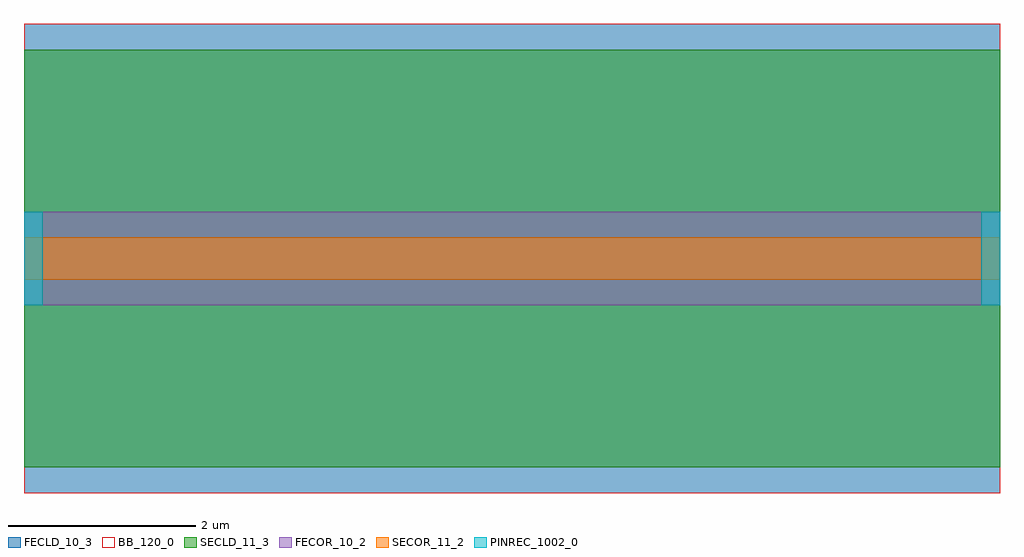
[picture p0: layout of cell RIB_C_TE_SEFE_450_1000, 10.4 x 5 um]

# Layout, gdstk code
import gdstk
lib = gdstk.Library(unit=1e-6, precision=1e-09)
def R(c, l, rs):  # rectangles x0, y0, x1, y1
    for r in rs: c.add(gdstk.rectangle(r[:2], r[2:], *l))
FECOR_10_2 = (10, 2)
FECLD_10_3 = (10, 3)
SECOR_11_2 = (11, 2)
SECLD_11_3 = (11, 3)
BB_120_0 = (120, 0)
PINREC_1002_0 = (1002, 0)

rib_c_te_sefe_450_1000 = lib.new_cell('RIB_C_TE_SEFE_450_1000')
R(rib_c_te_sefe_450_1000, FECOR_10_2, [(-0.2,-0.5,0,0.5), (0,-0.5,10,0.5), (10,-0.5,10.2,0.5)])
R(rib_c_te_sefe_450_1000, FECLD_10_3, [(-0.2,-2.5,0,2.5), (0,-2.5,10,2.5), (10,-2.5,10.2,2.5)])
R(rib_c_te_sefe_450_1000, SECOR_11_2, [(-0.2,-0.225,0,0.225), (0,-0.225,10,0.225), (10,-0.225,10.2,0.225)])
R(rib_c_te_sefe_450_1000, SECLD_11_3, [(-0.2,-2.225,0,2.225), (0,-2.225,10,2.225), (10,-2.225,10.2,2.225)])
R(rib_c_te_sefe_450_1000, BB_120_0, [(-0.2,-2.5,10.2,2.5)])
R(rib_c_te_sefe_450_1000, PINREC_1002_0, [(-0.2,-0.5,0,0.5), (10,-0.5,10.2,0.5)])

lib.write_gds('RIB_C_TE_SEFE_450_1000.gds')
